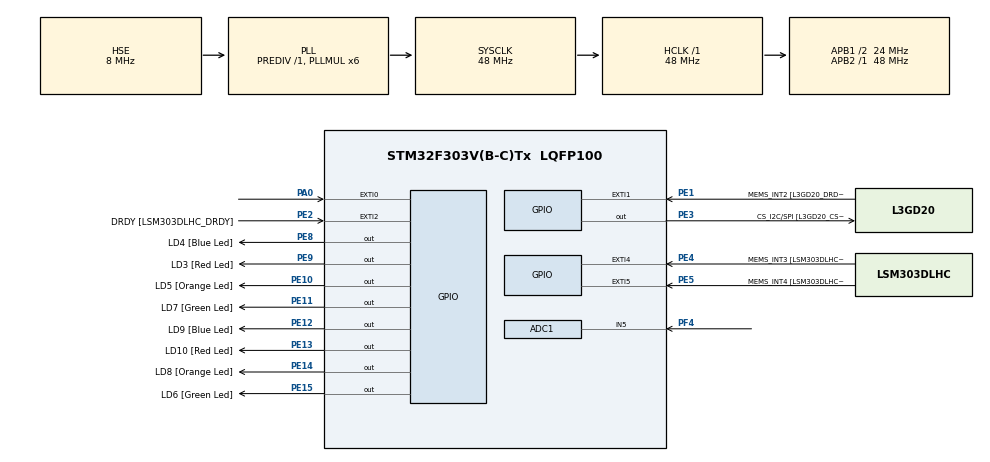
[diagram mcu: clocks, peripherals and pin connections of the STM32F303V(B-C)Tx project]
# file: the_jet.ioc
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ADC1.Channel-1\#ChannelRegularConversion=ADC_CHANNEL_5
ADC1.NbrOfConversionFlag=1
ADC1.Offset-1\#ChannelRegularConversion=0
ADC1.OffsetNumber-1\#ChannelRegularConversion=ADC_OFFSET_NONE
ADC1.Rank-1\#ChannelRegularConversion=1
ADC1.SamplingTime-1\#ChannelRegularConversion=ADC_SAMPLETIME_601CYCLES_5
ADC1.SamplingTimeOPAMP-1\#ChannelRegularConversion=ADC_SAMPLETIME_19CYCLES_5
ADC1.master=1
Mcu.Family=STM32F3
Mcu.Name=STM32F303V(B-C)Tx
Mcu.Package=LQFP100
NVIC.ADC1_2_IRQn=true\:1\:0\:true\:false\:true\:true\:true
NVIC.EXTI0_IRQn=true\:2\:0\:true\:false\:true\:true\:true
NVIC.PriorityGroup=NVIC_PRIORITYGROUP_2
NVIC.TIM3_IRQn=true\:3\:0\:true\:false\:true\:true\:true
PA0.GPIO_ModeDefaultEXTI=GPIO_MODE_IT_RISING_FALLING
PA0.GPIO_PuPd=GPIO_PULLDOWN
PA0.Signal=GPXTI0
PA11.GPIO_Label=DM
PA11.Signal=USB_DM
PA12.GPIO_Label=DP
PA12.Signal=USB_DP
PA13.GPIO_Label=SWDIO
PA13.Mode=Serial_Wire
PA13.Signal=SYS_JTMS-SWDIO
PA14.GPIO_Label=SWCLK
PA14.Mode=Serial_Wire
PA14.Signal=SYS_JTCK-SWCLK
PA5.GPIO_Label=SPI1_SCK [L3GD20_SCL/SPC]
PA5.Signal=SPI1_SCK
PA6.GPIO_Label=SPI1_MISO [L3GD20_SA0/SDO]
PA6.Signal=SPI1_MISO
PA7.GPIO_Label=SPI1_MISO [L3GD20_SDA/SDI/SDO]
PA7.Signal=SPI1_MOSI
PB3.GPIO_Label=SWO
PB3.Signal=SYS_JTDO-TRACESWO
PB6.GPIO_Label=I2C1_SCL [LSM303DLHC_SCL]
PB6.GPIO_Pu=GPIO_PULLUP
PB6.Signal=I2C1_SCL
PB7.GPIO_Label=I2C1_SDA [LSM303DLHC_SDA]
PB7.GPIO_Pu=GPIO_PULLUP
PB7.Signal=I2C1_SDA
PC14-OSC32_IN.GPIO_Label=OSC32_IN
PC14-OSC32_IN.Signal=RCC_OSC32_IN
PC15-OSC32_OUT.GPIO_Label=OSC32_OUT
PC15-OSC32_OUT.Signal=RCC_OSC32_OUT
PE1.GPIO_Label=MEMS_INT2 [L3GD20_DRDY/INT2]
PE1.GPIO_ModeDefaultEXTI=GPIO_MODE_EVT_RISING
PE1.Signal=GPXTI1
PE10.GPIO_Label=LD5 [Orange Led]
PE10.Signal=GPIO_Output
PE11.GPIO_Label=LD7 [Green Led]
PE11.Signal=GPIO_Output
PE12.GPIO_Label=LD9 [Blue Led]
PE12.Signal=GPIO_Output
PE13.GPIO_Label=LD10 [Red Led]
PE13.Signal=GPIO_Output
PE14.GPIO_Label=LD8 [Orange Led]
PE14.Signal=GPIO_Output
PE15.GPIO_Label=LD6 [Green Led]
PE15.Signal=GPIO_Output
PE2.GPIO_Label=DRDY [LSM303DLHC_DRDY]
PE2.GPIO_ModeDefaultEXTI=GPIO_MODE_EVT_RISING
PE2.Signal=GPXTI2
PE3.GPIO_Label=CS_I2C/SPI [L3GD20_CS_I2C/SPI]
PE3.Signal=GPIO_Output
PE4.GPIO_Label=MEMS_INT3 [LSM303DLHC_INT1]
PE4.GPIO_ModeDefaultEXTI=GPIO_MODE_EVT_RISING
PE4.Signal=GPXTI4
PE5.GPIO_Label=MEMS_INT4 [LSM303DLHC_INT2]
PE5.GPIO_ModeDefaultEXTI=GPIO_MODE_EVT_RISING
PE5.Signal=GPXTI5
PE8.GPIO_Label=LD4 [Blue Led]
PE8.Signal=GPIO_Output
PE9.GPIO_Label=LD3 [Red Led]
PE9.Signal=GPIO_Output
PF0-OSC_IN.GPIO_Label=OSC_IN
PF0-OSC_IN.Mode=HSE-External-Clock-Source
PF0-OSC_IN.Signal=RCC_OSC_IN
PF1-OSC_OUT.GPIO_Label=OSC_OUT
PF1-OSC_OUT.Signal=RCC_OSC_OUT
PF4.Mode=IN5-Single-Ended
PF4.Signal=ADC1_IN5
ProjectManager.HeapSize=0x200
ProjectManager.StackSize=0x400
ProjectManager.TargetToolchain=STM32CubeIDE
RCC.AHBFreq_Value=48000000
RCC.APB1CLKDivider=RCC_HCLK_DIV2
RCC.APB1Freq_Value=24000000
RCC.APB1TimFreq_Value=48000000
RCC.APB2Freq_Value=48000000
RCC.APB2TimFreq_Value=48000000
RCC.CortexFreq_Value=48000000
RCC.HCLKFreq_Value=48000000
RCC.HSE_VALUE=8000000
RCC.HSI_VALUE=8000000
RCC.LSE_VALUE=32768
RCC.PLLMUL=RCC_PLL_MUL6
RCC.PLLSourceVirtual=RCC_PLLSOURCE_HSE
RCC.SYSCLKFreq_VALUE=48000000
RCC.SYSCLKSourceVirtual=RCC_SYSCLKSOURCE_PLLCLK
RCC.USBFreq_Value=48000000
TIM3.Period=9999
TIM3.Prescaler=2399
VP_TIM3_VS_ClockSourceINT.Mode=Internal
board=STM32F3DISCOVERY

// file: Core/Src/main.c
/* USER CODE BEGIN Header */
/**
  ******************************************************************************
  * @file           : main.c
  * @brief          : Main program body
  ******************************************************************************
  * @attention
  *
  * <h2><center>&copy; Copyright (c) 2021 STMicroelectronics.
  * All rights reserved.</center></h2>
  *
  * This software component is licensed by ST under BSD 3-Clause license,
  * the "License"; You may not use this file except in compliance with the
  * License. You may obtain a copy of the License at:
  *                        opensource.org/licenses/BSD-3-Clause
  *
  ******************************************************************************
  */
/* USER CODE END Header */
#include "main.h"

/* USER CODE BEGIN Includes */
#include "LiquidCrystal.h"
/* USER CODE END Includes */

/* USER CODE BEGIN PTD */
typedef unsigned char byte;
/* USER CODE END PTD */

ADC_HandleTypeDef hadc1;

TIM_HandleTypeDef htim3;

/* USER CODE BEGIN PV */
byte the_jet[] = {
  0x08,
  0x0C,
  0x08,
  0x1F,
  0x1F,
  0x08,
  0x0C,
  0x08
};
byte shoot_down_tank[] = {
  0x0E,
  0x0E,
  0x0A,
  0x0E,
  0x0E,
  0x04,
  0x04,
  0x04
};
byte shoot_up_tank[] = {
  0x04,
  0x04,
  0x04,
  0x0E,
  0x0A,
  0x0E,
  0x0E,
  0x0E
};
/* USER CODE END PV */

void SystemClock_Config(void);
static void MX_GPIO_Init(void);
static void MX_ADC1_Init(void);
static void MX_TIM3_Init(void);

/* USER CODE BEGIN 0 */
void add_special_chars() {
  createChar(0, the_jet);
  createChar(1, shoot_down_tank);
  createChar(2, shoot_up_tank);
}
/* USER CODE END 0 */

int main(void)
{

  /* MCU Configuration--------------------------------------------------------*/

  /* Reset of all peripherals, Initializes the Flash interface and the Systick. */
  HAL_Init();

  /* Configure the system clock */
  SystemClock_Config();

  /* Initialize all configured peripherals */
  MX_GPIO_Init();
  MX_ADC1_Init();
  MX_TIM3_Init();
  /* USER CODE BEGIN 2 */
  LiquidCrystal(GPIOD, GPIO_PIN_8, GPIO_PIN_9, GPIO_PIN_10, GPIO_PIN_11, GPIO_PIN_12, GPIO_PIN_13, GPIO_PIN_14);
  begin(20, 4);
  add_special_chars();
  HAL_ADC_Start_IT(&hadc1);
  HAL_TIM_Base_Start_IT(&htim3);
  /* USER CODE END 2 */

  /* Infinite loop */
  while (1)
  {

  }
}

void SystemClock_Config(void)
{
  RCC_OscInitTypeDef RCC_OscInitStruct = {0};
  RCC_ClkInitTypeDef RCC_ClkInitStruct = {0};
  RCC_PeriphCLKInitTypeDef PeriphClkInit = {0};

  /** Initializes the RCC Oscillators according to the specified parameters
  * in the RCC_OscInitTypeDef structure.
  */
  RCC_OscInitStruct.OscillatorType = RCC_OSCILLATORTYPE_HSE;
  RCC_OscInitStruct.HSEState = RCC_HSE_BYPASS;
  RCC_OscInitStruct.HSEPredivValue = RCC_HSE_PREDIV_DIV1;
  RCC_OscInitStruct.HSIState = RCC_HSI_ON;
  RCC_OscInitStruct.PLL.PLLState = RCC_PLL_ON;
  RCC_OscInitStruct.PLL.PLLSource = RCC_PLLSOURCE_HSE;
  RCC_OscInitStruct.PLL.PLLMUL = RCC_PLL_MUL6;
  if (HAL_RCC_OscConfig(&RCC_OscInitStruct) != HAL_OK)
  {
    Error_Handler();
  }
  /** Initializes the CPU, AHB and APB buses clocks
  */
  RCC_ClkInitStruct.ClockType = RCC_CLOCKTYPE_HCLK|RCC_CLOCKTYPE_SYSCLK
                              |RCC_CLOCKTYPE_PCLK1|RCC_CLOCKTYPE_PCLK2;
  RCC_ClkInitStruct.SYSCLKSource = RCC_SYSCLKSOURCE_PLLCLK;
  RCC_ClkInitStruct.AHBCLKDivider = RCC_SYSCLK_DIV1;
  RCC_ClkInitStruct.APB1CLKDivider = RCC_HCLK_DIV2;
  RCC_ClkInitStruct.APB2CLKDivider = RCC_HCLK_DIV1;

  if (HAL_RCC_ClockConfig(&RCC_ClkInitStruct, FLASH_LATENCY_1) != HAL_OK)
  {
    Error_Handler();
  }
  PeriphClkInit.PeriphClockSelection = RCC_PERIPHCLK_ADC12;
  PeriphClkInit.Adc12ClockSelection = RCC_ADC12PLLCLK_DIV1;
  if (HAL_RCCEx_PeriphCLKConfig(&PeriphClkInit) != HAL_OK)
  {
    Error_Handler();
  }
}

static void MX_ADC1_Init(void)
{

  ADC_MultiModeTypeDef multimode = {0};
  ADC_ChannelConfTypeDef sConfig = {0};

  /** Common config
  */
  hadc1.Instance = ADC1;
  hadc1.Init.ClockPrescaler = ADC_CLOCK_ASYNC_DIV1;
  hadc1.Init.Resolution = ADC_RESOLUTION_12B;
  hadc1.Init.ScanConvMode = ADC_SCAN_DISABLE;
  hadc1.Init.ContinuousConvMode = DISABLE;
  hadc1.Init.DiscontinuousConvMode = DISABLE;
  hadc1.Init.ExternalTrigConvEdge = ADC_EXTERNALTRIGCONVEDGE_NONE;
  hadc1.Init.ExternalTrigConv = ADC_SOFTWARE_START;
  hadc1.Init.DataAlign = ADC_DATAALIGN_RIGHT;
  hadc1.Init.NbrOfConversion = 1;
  hadc1.Init.DMAContinuousRequests = DISABLE;
  hadc1.Init.EOCSelection = ADC_EOC_SINGLE_CONV;
  hadc1.Init.LowPowerAutoWait = DISABLE;
  hadc1.Init.Overrun = ADC_OVR_DATA_OVERWRITTEN;
  if (HAL_ADC_Init(&hadc1) != HAL_OK)
  {
    Error_Handler();
  }
  /** Configure the ADC multi-mode
  */
  multimode.Mode = ADC_MODE_INDEPENDENT;
  if (HAL_ADCEx_MultiModeConfigChannel(&hadc1, &multimode) != HAL_OK)
  {
    Error_Handler();
  }
  /** Configure Regular Channel
  */
  sConfig.Channel = ADC_CHANNEL_5;
  sConfig.Rank = ADC_REGULAR_RANK_1;
  sConfig.SingleDiff = ADC_SINGLE_ENDED;
  sConfig.SamplingTime = ADC_SAMPLETIME_601CYCLES_5;
  sConfig.OffsetNumber = ADC_OFFSET_NONE;
  sConfig.Offset = 0;
  if (HAL_ADC_ConfigChannel(&hadc1, &sConfig) != HAL_OK)
  {
    Error_Handler();
  }

}

static void MX_TIM3_Init(void)
{

  TIM_ClockConfigTypeDef sClockSourceConfig = {0};
  TIM_MasterConfigTypeDef sMasterConfig = {0};

  htim3.Instance = TIM3;
  htim3.Init.Prescaler = 2399;
  htim3.Init.CounterMode = TIM_COUNTERMODE_UP;
  htim3.Init.Period = 9999;
  htim3.Init.ClockDivision = TIM_CLOCKDIVISION_DIV1;
  htim3.Init.AutoReloadPreload = TIM_AUTORELOAD_PRELOAD_DISABLE;
  if (HAL_TIM_Base_Init(&htim3) != HAL_OK)
  {
    Error_Handler();
  }
  sClockSourceConfig.ClockSource = TIM_CLOCKSOURCE_INTERNAL;
  if (HAL_TIM_ConfigClockSource(&htim3, &sClockSourceConfig) != HAL_OK)
  {
    Error_Handler();
  }
  sMasterConfig.MasterOutputTrigger = TIM_TRGO_RESET;
  sMasterConfig.MasterSlaveMode = TIM_MASTERSLAVEMODE_DISABLE;
  if (HAL_TIMEx_MasterConfigSynchronization(&htim3, &sMasterConfig) != HAL_OK)
  {
    Error_Handler();
  }

}

static void MX_GPIO_Init(void)
{
  GPIO_InitTypeDef GPIO_InitStruct = {0};

  /* GPIO Ports Clock Enable */
  __HAL_RCC_GPIOE_CLK_ENABLE();
  __HAL_RCC_GPIOC_CLK_ENABLE();
  __HAL_RCC_GPIOF_CLK_ENABLE();
  __HAL_RCC_GPIOA_CLK_ENABLE();
  __HAL_RCC_GPIOB_CLK_ENABLE();

  /*Configure GPIO pin Output Level */
  HAL_GPIO_WritePin(GPIOE, CS_I2C_SPI_Pin|LD4_Pin|LD3_Pin|LD5_Pin
                          |LD7_Pin|LD9_Pin|LD10_Pin|LD8_Pin
                          |LD6_Pin, GPIO_PIN_RESET);

  /*Configure GPIO pins : DRDY_Pin MEMS_INT3_Pin MEMS_INT4_Pin MEMS_INT2_Pin */
  GPIO_InitStruct.Pin = DRDY_Pin|MEMS_INT3_Pin|MEMS_INT4_Pin|MEMS_INT2_Pin;
  GPIO_InitStruct.Mode = GPIO_MODE_EVT_RISING;
  GPIO_InitStruct.Pull = GPIO_NOPULL;
  HAL_GPIO_Init(GPIOE, &GPIO_InitStruct);

  /*Configure GPIO pins : CS_I2C_SPI_Pin LD4_Pin LD3_Pin LD5_Pin
                           LD7_Pin LD9_Pin LD10_Pin LD8_Pin
                           LD6_Pin */
  GPIO_InitStruct.Pin = CS_I2C_SPI_Pin|LD4_Pin|LD3_Pin|LD5_Pin
                          |LD7_Pin|LD9_Pin|LD10_Pin|LD8_Pin
                          |LD6_Pin;
  GPIO_InitStruct.Mode = GPIO_MODE_OUTPUT_PP;
  GPIO_InitStruct.Pull = GPIO_NOPULL;
  GPIO_InitStruct.Speed = GPIO_SPEED_FREQ_LOW;
  HAL_GPIO_Init(GPIOE, &GPIO_InitStruct);

  /*Configure GPIO pin : PA0 */
  GPIO_InitStruct.Pin = GPIO_PIN_0;
  GPIO_InitStruct.Mode = GPIO_MODE_IT_RISING_FALLING;
  GPIO_InitStruct.Pull = GPIO_PULLDOWN;
  HAL_GPIO_Init(GPIOA, &GPIO_InitStruct);

  /*Configure GPIO pins : SPI1_SCK_Pin SPI1_MISO_Pin SPI1_MISOA7_Pin */
  GPIO_InitStruct.Pin = SPI1_SCK_Pin|SPI1_MISO_Pin|SPI1_MISOA7_Pin;
  GPIO_InitStruct.Mode = GPIO_MODE_AF_PP;
  GPIO_InitStruct.Pull = GPIO_NOPULL;
  GPIO_InitStruct.Speed = GPIO_SPEED_FREQ_HIGH;
  GPIO_InitStruct.Alternate = GPIO_AF5_SPI1;
  HAL_GPIO_Init(GPIOA, &GPIO_InitStruct);

  /*Configure GPIO pins : DM_Pin DP_Pin */
  GPIO_InitStruct.Pin = DM_Pin|DP_Pin;
  GPIO_InitStruct.Mode = GPIO_MODE_AF_PP;
  GPIO_InitStruct.Pull = GPIO_NOPULL;
  GPIO_InitStruct.Speed = GPIO_SPEED_FREQ_HIGH;
  GPIO_InitStruct.Alternate = GPIO_AF14_USB;
  HAL_GPIO_Init(GPIOA, &GPIO_InitStruct);

  /*Configure GPIO pins : I2C1_SCL_Pin I2C1_SDA_Pin */
  GPIO_InitStruct.Pin = I2C1_SCL_Pin|I2C1_SDA_Pin;
  GPIO_InitStruct.Mode = GPIO_MODE_AF_OD;
  GPIO_InitStruct.Pull = GPIO_PULLUP;
  GPIO_InitStruct.Speed = GPIO_SPEED_FREQ_HIGH;
  GPIO_InitStruct.Alternate = GPIO_AF4_I2C1;
  HAL_GPIO_Init(GPIOB, &GPIO_InitStruct);

  /* EXTI interrupt init*/
  HAL_NVIC_SetPriority(EXTI0_IRQn, 2, 0);
  HAL_NVIC_EnableIRQ(EXTI0_IRQn);

}

void Error_Handler(void)
{
  __disable_irq();
  while (1)
  {
  }
}

/************************ (C) COPYRIGHT STMicroelectronics *****END OF FILE****/
